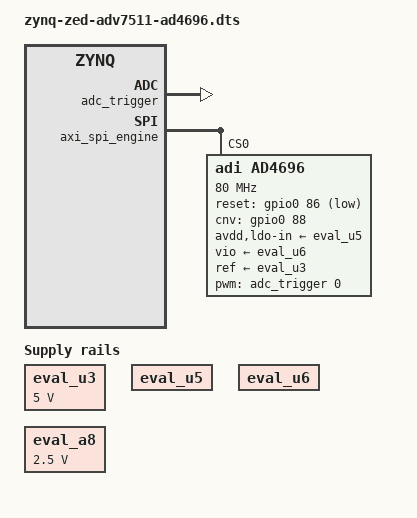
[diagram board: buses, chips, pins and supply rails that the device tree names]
// SPDX-License-Identifier: GPL-2.0
/*
 * Analog Devices AD4696
 *
 * hdl_project: <ad469x_fmc/zed>
 * https://analogdevicesinc.github.io/hdl/projects/ad469x_evb/
 * https://www.analog.com/en/resources/evaluation-hardware-and-software/evaluation-boards-kits/eval-ad4696.html
 * https://wiki.analog.com/resources/tools-software/linux-drivers/iio-adc/ad4695
 *
 * Copyright (C) 2025 Analog Devices Inc.
 */
/dts-v1/;

#include <dt-bindings/interrupt-controller/irq.h>
#include <dt-bindings/gpio/gpio.h>
#include <dt-bindings/iio/adc/adi,ad4695.h>

#include "zynq-zed.dtsi"
#include "zynq-zed-adv7511.dtsi"

/ {
	eval_u3: regulator-eval-u3 {
		compatible = "regulator-fixed";
		regulator-name = "ADR4550 5.0V REFERENCE (U3)";
		regulator-min-microvolt = <5000000>;
		regulator-max-microvolt = <5000000>;
		regulator-always-on;
	};

	eval_u5: regulator-eval-u5 {
		compatible = "regulator-fixed";
		regulator-name = "12V/5V,-3.3V/-2.5V DUAL-LDO (U5)";
		regulator-always-on;
	};

	eval_u6: regulator-eval-u6 {
		compatible = "regulator-fixed";
		regulator-name = "5V/1.8V LDO (U6)";
		regulator-always-on;
	};

	eval_a8: regulator-eval-a8 {
		compatible = "regulator-fixed";
		regulator-name = "VREF/2 DIVIDER CIRCUIT (A8)";
		regulator-min-microvolt = <2500000>;
		regulator-max-microvolt = <2500000>;
		regulator-always-on;
	};

	/* This is only used if you are using IN1 for a common mode input. */
	// in1_vcm: regulator-in1-vcm {
	// 	compatible = "regulator-fixed";
	// 	regulator-name = "External signal generator common mode output";
	// 	regulator-min-microvolt = <2500000>;
	// 	regulator-max-microvolt = <2500000>;
	// 	regulator-always-on;
	// };
};

&fpga_axi {
	rx_dma: dma-controller@44a30000 {
		compatible = "adi,axi-dmac-1.00.a";
		reg = <0x44a30000 0x1000>;
		#dma-cells = <1>;
		interrupts = <0 57 IRQ_TYPE_LEVEL_HIGH>;
		clocks = <&clkc 15>;
	};

	adc_trigger: pwm@44b00000 {
		compatible = "adi,axi-pwmgen-2.00.a";
		reg = <0x44b00000 0x1000>;
		#pwm-cells = <3>;
		clocks = <&clkc 15>, <&spi_clk>;
		clock-names = "axi", "ext";
	};

	spi_clk: clock-controller@44a70000 {
		compatible = "adi,axi-clkgen-2.00.a";
		reg = <0x44a70000 0x10000>;
		#clock-cells = <0>;
		clocks = <&clkc 15>, <&clkc 15>;
		clock-names = "clkin1", "s_axi_aclk";
		clock-output-names = "spi_clk";
	};

	axi_spi_engine: spi@44a00000 {
		compatible = "adi,axi-spi-engine-1.00.a";
		reg = <0x44a00000 0x1000>;
		interrupt-parent = <&intc>;
		interrupts = <0 56 IRQ_TYPE_LEVEL_HIGH>;
		clocks = <&clkc 15>, <&spi_clk>;
		clock-names = "s_axi_aclk", "spi_clk";

		dmas = <&rx_dma 0>;
		dma-names = "offload0-rx";
		trigger-sources = <&ad4696 AD4695_TRIGGER_EVENT_BUSY
					   AD4695_TRIGGER_PIN_GP0>;

		#address-cells = <1>;
		#size-cells = <0>;

		ad4696: adc@0 {
			compatible = "adi,ad4696";
			reg = <0>;

			spi-cpol;
			spi-cpha;
			spi-max-frequency = <80000000>;

			avdd-supply = <&eval_u5>;
			/* JP7 in default position A. */
			ldo-in-supply = <&eval_u5>;
			/* JP8 in default position A. */
			vio-supply = <&eval_u6>;
			/* JP11 in default position B. */
			ref-supply = <&eval_u3>;
			/* Uncomment this line if JP6 is changed from default. */
			// com-supply = <&eval_a8>;
			/* Uncomment this line of using IN1 as common mode input. */
			// in1-supply = <&in1_vcm>;

			reset-gpios = <&gpio0 86 GPIO_ACTIVE_LOW>;
			cnv-gpios = <&gpio0 88 GPIO_ACTIVE_HIGH>;
			pwms = <&adc_trigger 0 10000 0>;

			#trigger-source-cells = <2>;

			#address-cells = <1>;
			#size-cells = <0>;

			/*
			 * Default configuration is for all channels to be
			 * configured as single-ended inputs with REFGND.
			 */

			/* Uncomment this node if using IN0/IN1 pair as pseudo-differential pair. */
			// /* Pseudo-differential channel between IN0 and IN1. */
			// channel@0 {
			// 	reg = <0>;
			// 	common-mode-channel = <1>;
			// 	bipolar;
			// };
		};
	};
};
